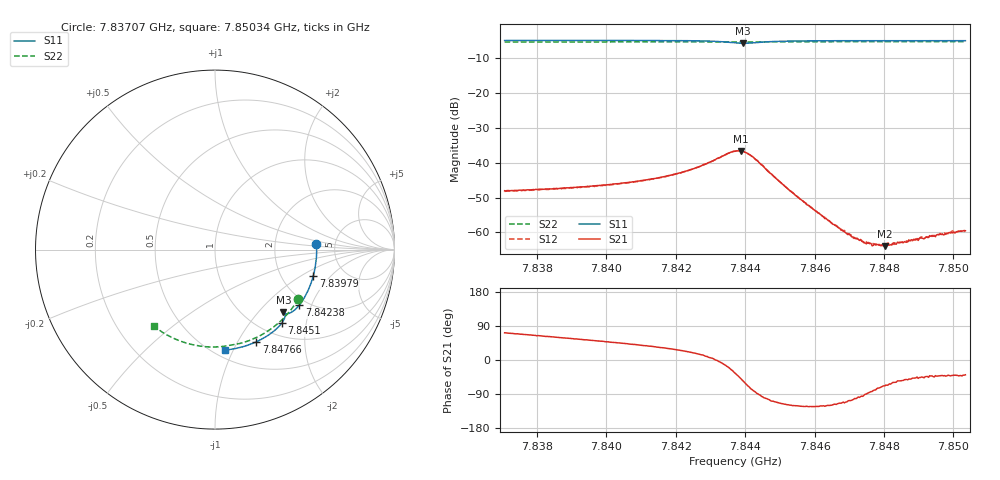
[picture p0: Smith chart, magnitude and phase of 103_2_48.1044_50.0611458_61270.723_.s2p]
#  HZ  S  RI  R  50.00
! Rohde & Schwarz Vector Network Analyzer
! Rohde-Schwarz,ZNB20-2Port,1311601062101988,3.16
! Created: UTC 12/23/2023, 3:44:59 AM
! freq[Hz]  re:S11  im:S11  re:S21  im:S21  re:S12  im:S12  re:S22  im:S22
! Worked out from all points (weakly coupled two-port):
!   401 points, 7.83707 GHz to 7.85034 GHz, reference 50 ohm
!   highest |S21| = -36.61 dB at 7.84387 GHz (marker M1); lowest = -63.9 dB at 7.84802 GHz (marker M2)
!   lowest |S11| = -5.7 dB at 7.84394 GHz (marker M3), VSWR 3.13, Z = 72.9 - j69 ohm
!   |S11| at or under -10 dB: nowhere
!   |S22| runs from -5.4 to -5.3 dB; largest |S21 - S12| = 0.00037
!   S11 on the Smith chart (normalised r, x): 7.83707 GHz: 3.58, +0.33; 7.83979 GHz: 2.99, -1.31; 7.84238 GHz: 1.81, -1.64; 7.8451 GHz: 1.24, -1.46; 7.84766 GHz: 0.80, -1.20; 7.85034 GHz: 0.57, -0.93
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7.837065e9  0.5653 0.0312  0.00124 0.00377  0.00126 0.00366  0.4647 -0.2743
7.83929e9  0.555 -0.1162  0.00263 0.00363  0.00263 0.0036  0.3681 -0.3956
7.839788e9  0.5471 -0.1487  0.00304 0.00361  0.00298 0.00359  0.3418 -0.4189
7.841514e9  0.5032 -0.2582  0.00509 0.00336  0.00501 0.00337  0.2406 -0.4849
7.842377e9  0.469 -0.3102  0.00728 0.00283  0.00724 0.00285  0.1847 -0.5089
7.843207e9  0.4201 -0.3522  0.0116 -0.000397  0.0115 -0.000378  0.1285 -0.5251
7.843705e9  0.3852 -0.354  0.012 -0.00827  0.0121 -0.00817  0.0954 -0.5306
7.843871e9  0.3813 -0.349  0.00958 -0.0113  0.00983 -0.011  0.0848 -0.5322
7.843938e9  0.3814 -0.3476  0.00824 -0.0119  0.00833 -0.0119  0.0807 -0.533
7.844104e9  0.3853 -0.3476  0.00446 -0.0124  0.00457 -0.0125  0.0702 -0.535
7.844303e9  0.39 -0.3556  0.0009 -0.0111  0.000824 -0.011  0.0571 -0.5374
7.8451e9  0.3731 -0.4081  -0.00211 -0.00433  -0.0021 -0.00435  0.00136 -0.5426
7.84593e9  0.3317 -0.4512  -0.00121 -0.00186  -0.00121 -0.00188  -0.0574 -0.5406
7.846527e9  0.2982 -0.4759  -0.000613 -0.00115  -0.000634 -0.00118  -0.099 -0.535
7.847125e9  0.2632 -0.497  -0.000204 -0.000831  -0.000208 -0.000794  -0.14 -0.526
7.847423e9  0.2454 -0.5065  -3.53e-05 -0.000706  -6.25e-05 -0.000725  -0.1602 -0.5204
7.847656e9  0.2311 -0.5132  7.68e-05 -0.000638  6.67e-05 -0.000686  -0.1758 -0.5157
7.847855e9  0.2188 -0.5186  0.000181 -0.000632  0.000182 -0.00065  -0.189 -0.511
7.848021e9  0.2085 -0.5229  0.000237 -0.000594  0.000255 -0.00064  -0.2 -0.5071
7.848154e9  0.2003 -0.5262  0.000301 -0.000587  0.000293 -0.00058  -0.2086 -0.5036
7.84998e9  0.0826 -0.5566  0.000747 -0.000639  0.000779 -0.000716  -0.3206 -0.442
7.850345e9  0.0585 -0.5594  0.00082 -0.000666  0.000818 -0.000698  -0.341 -0.4267
